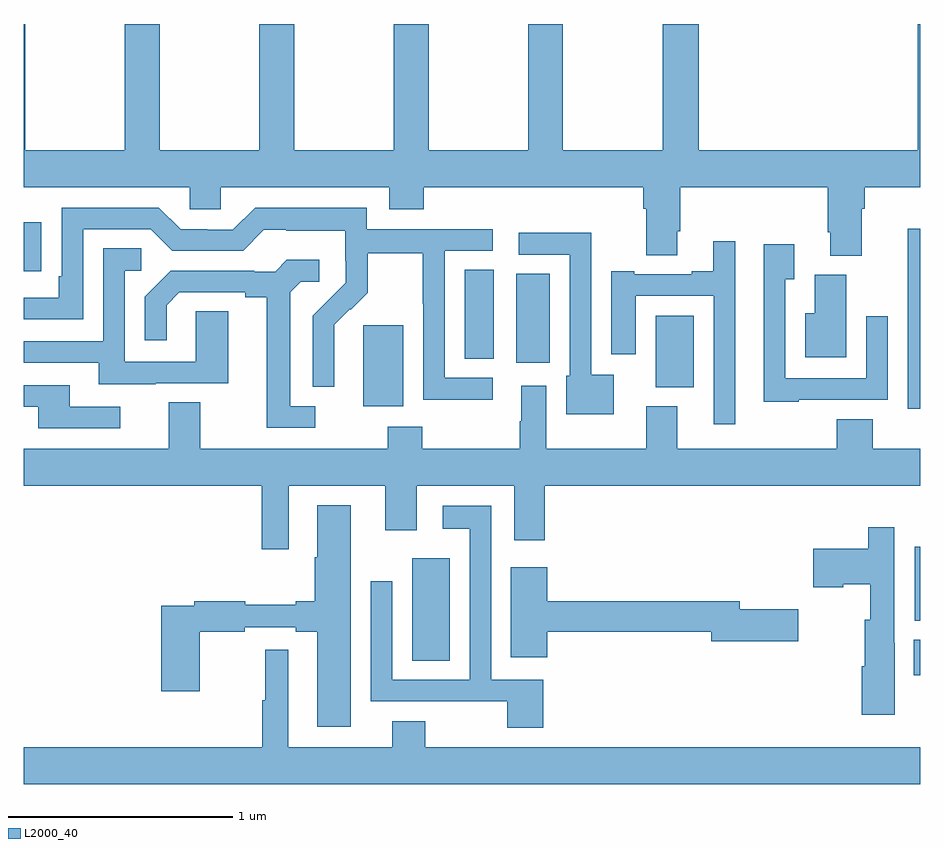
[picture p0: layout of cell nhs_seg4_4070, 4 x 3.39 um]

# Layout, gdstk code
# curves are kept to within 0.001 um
import gdstk
lib = gdstk.Library(unit=1e-6, precision=1e-09)
def R(c, l, rs):  # rectangles x0, y0, x1, y1
    for r in rs: c.add(gdstk.rectangle(r[:2], r[2:], *l))
def P(c, l, *ps):  # polygons
    for p in ps: c.add(gdstk.Polygon(p, *l))
L2000_40 = (2000, 40)

nhs_seg4_4070 = lib.new_cell('nhs_seg4_4070')
R(nhs_seg4_4070, L2000_40, [(330.971,775.994,331,776.152), (328.733,776.059,328.9,776.515), (330.975,776.237,331,776.566), (328.514,777.194,328.693,777.555), (329.819,777.278,329.989,777.598), (329.198,777.387,329.347,777.785), (328.967,777.406,329.098,777.803), (327,777.796,327.077,778.015)])
P(nhs_seg4_4070, L2000_40, [(330.739,778.076),(330.752,778.076),(330.752,778.172),(331,778.172),(331,778.9),(330.989,778.9),(330.989,778.336),(330.011,778.336),(330.011,778.9),(329.851,778.9),(329.851,778.336),(329.406,778.336),(329.406,778.9),(329.251,778.9),(329.251,778.336),(328.806,778.336),(328.806,778.9),(328.651,778.9),(328.651,778.336),(328.206,778.336),(328.206,778.9),(328.051,778.9),(328.051,778.336),(327.606,778.336),(327.606,778.9),(327.451,778.9),(327.451,778.336),(327.006,778.336),(327.006,778.9),(327,778.9),(327,778.172),(327.741,778.172),(327.741,778.074),(327.879,778.074),(327.879,778.172),(328.631,778.172),(328.631,778.073),(328.784,778.073),(328.784,778.172),(329.765,778.172),(329.765,778.076),(329.777,778.076),(329.777,777.868),(329.917,777.868),(329.917,777.976),(329.93,777.976),(329.93,778.172),(330.587,778.172),(330.587,777.97),(330.599,777.97),(330.599,777.865),(330.739,777.865)],
  [(329.092,777.321),(328.878,777.321),(328.878,777.888),(329.092,777.888),(329.092,777.984),(328.53,777.984),(328.53,778.081),(328.033,778.081),(327.933,777.981),(327.818,777.981),(327.818,777.984),(327.699,777.984),(327.603,778.08),(327.168,778.08),(327.168,777.775),(327.155,777.775),(327.155,777.678),(327,777.678),(327,777.582),(327.264,777.582),(327.264,777.984),(327.567,777.984),(327.663,777.888),(327.978,777.888),(328.071,777.981),(328.171,777.981),(328.171,777.977),(328.434,777.977),(328.434,777.843),(328.436,777.843),(328.436,777.746),(328.29,777.598),(328.29,777.28),(328.386,777.28),(328.385,777.557),(328.455,777.627),(328.458,777.624),(328.535,777.701),(328.535,777.876),(328.78,777.876),(328.78,777.652),(328.782,777.652),(328.782,777.223),(329.092,777.223)],
  [(331,777.986),(330.944,777.986),(330.944,777.682),(330.945,777.682),(330.945,777.183),(331,777.183)],
  [(329.632,777.334),(329.532,777.334),(329.532,777.968),(329.208,777.968),(329.208,777.87),(329.436,777.87),(329.436,777.33),(329.42,777.33),(329.42,777.158),(329.632,777.158)],
  [(330.174,777.931),(330.077,777.931),(330.077,777.796),(329.981,777.796),(329.981,777.783),(329.725,777.783),(329.725,777.796),(329.621,777.796),(329.621,777.426),(329.731,777.426),(329.731,777.687),(330.078,777.687),(330.078,777.114),(330.174,777.114)],
  [(330.459,777.222),(330.855,777.222),(330.855,777.595),(330.759,777.595),(330.759,777.318),(330.399,777.318),(330.399,777.76),(330.439,777.76),(330.439,777.916),(330.303,777.916),(330.303,777.215),(330.459,777.215)],
  [(327.589,777.297),(327.913,777.297),(327.913,777.617),(327.768,777.617),(327.768,777.393),(327.45,777.393),(327.45,777.798),(327.523,777.798),(327.523,777.899),(327.354,777.899),(327.354,777.483),(327,777.483),(327,777.387),(327.335,777.387),(327.335,777.293),(327.589,777.293)],
  [(328.3,777.195),(328.189,777.195),(328.189,777.703),(328.236,777.75),(328.318,777.75),(328.318,777.847),(328.174,777.847),(328.122,777.795),(328.028,777.795),(328.028,777.798),(327.656,777.798),(327.54,777.682),(327.54,777.489),(327.637,777.489),(327.637,777.645),(327.694,777.702),(327.989,777.702),(327.989,777.68),(328.085,777.68),(328.085,777.099),(328.3,777.099)],
  [(330.67,777.78),(330.53,777.78),(330.53,777.61),(330.488,777.61),(330.488,777.413),(330.67,777.413)],
  [(327.43,777.192),(327.205,777.192),(327.205,777.288),(327,777.288),(327,777.192),(327.065,777.192),(327.065,777.096),(327.43,777.096)],
  [(328.183,776.84),(328.613,776.84),(328.613,776.64),(328.753,776.64),(328.753,776.84),(329.189,776.84),(329.189,776.595),(329.324,776.595),(329.324,776.84),(331,776.84),(331,777.004),(330.788,777.004),(330.788,777.137),(330.628,777.137),(330.628,777.004),(329.917,777.004),(329.917,777.193),(329.777,777.193),(329.777,777.004),(329.332,777.004),(329.332,777.286),(329.219,777.286),(329.219,777.128),(329.212,777.128),(329.212,777.004),(328.779,777.004),(328.779,777.103),(328.624,777.103),(328.624,777.004),(327.787,777.004),(327.787,777.212),(327.647,777.212),(327.647,777.004),(327,777.004),(327,776.84),(328.062,776.84),(328.062,776.556),(328.183,776.556)],
  [(328.459,776.752),(328.31,776.752),(328.31,776.52),(328.298,776.52),(328.298,776.324),(328.214,776.324),(328.214,776.307),(327.987,776.307),(327.987,776.324),(327.76,776.324),(327.76,776.304),(327.614,776.304),(327.614,775.923),(327.784,775.923),(327.784,776.188),(327.986,776.188),(327.986,776.208),(328.214,776.208),(328.214,776.188),(328.31,776.188),(328.31,775.764),(328.459,775.764)],
  [(329.318,775.974),(329.085,775.974),(329.085,776.749),(328.869,776.749),(328.869,776.648),(328.989,776.648),(328.989,775.974),(328.644,775.974),(328.644,776.413),(328.548,776.413),(328.548,775.878),(328.892,775.878),(328.892,775.877),(329.158,775.877),(329.158,775.758),(329.318,775.758)],
  [(330.886,776.138),(330.885,776.138),(330.885,776.653),(330.769,776.653),(330.769,776.557),(330.522,776.557),(330.522,776.387),(330.656,776.387),(330.656,776.399),(330.777,776.399),(330.777,776.242),(330.752,776.242),(330.752,776.034),(330.74,776.034),(330.74,775.818),(330.886,775.818)],
  [(329.336,776.188),(330.068,776.188),(330.068,776.146),(330.457,776.146),(330.457,776.288),(330.196,776.288),(330.196,776.324),(329.336,776.324),(329.336,776.476),(329.174,776.476),(329.174,776.073),(329.336,776.073)],
  [(331,775.672),(328.791,775.672),(328.791,775.789),(328.643,775.789),(328.643,775.672),(328.18,775.672),(328.18,776.107),(328.078,776.107),(328.078,775.881),(328.063,775.881),(328.063,775.672),(327,775.672),(327,775.508),(331,775.508)])

lib.write_gds('nhs_seg4_4070.gds')
